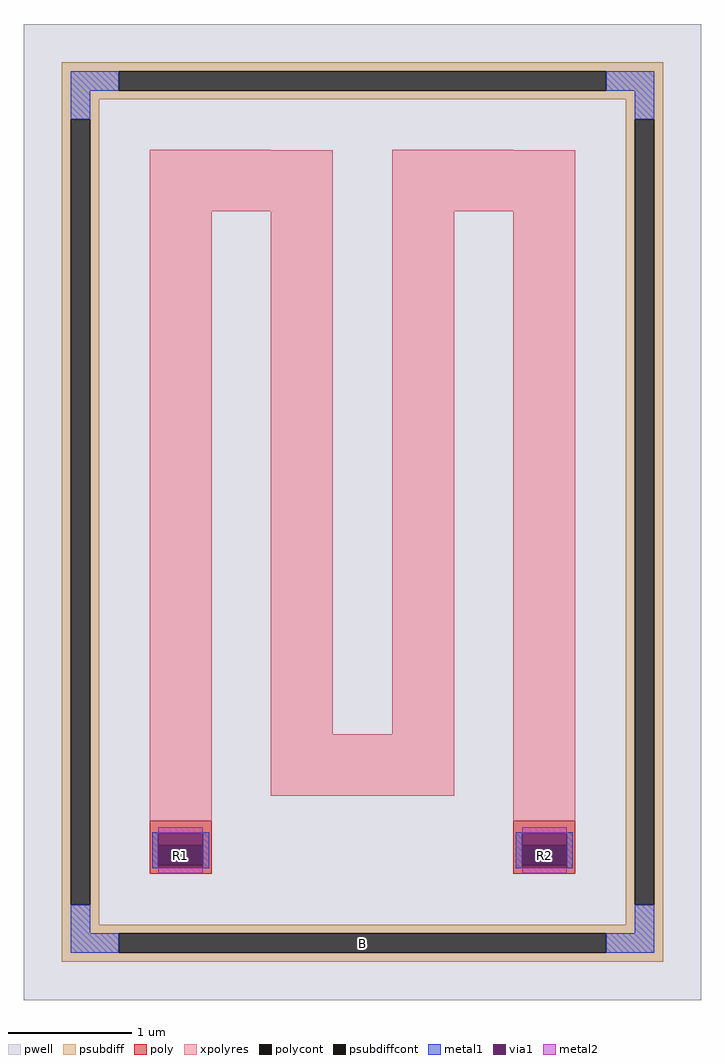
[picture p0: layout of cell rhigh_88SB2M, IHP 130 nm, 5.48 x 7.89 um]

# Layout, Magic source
magic
tech ihp-sg13g2
magscale 1 2
<< pwell >>
rect -548 -789 548 789
<< psubdiff >>
rect -486 713 486 727
rect -486 681 -394 713
rect 394 681 486 713
rect -486 667 486 681
rect -486 635 -426 667
rect -486 -635 -472 635
rect -440 -635 -426 635
rect 426 635 486 667
rect -486 -667 -426 -635
rect 426 -635 440 635
rect 472 -635 486 635
rect 426 -667 486 -635
rect -486 -681 486 -667
rect -486 -713 -394 -681
rect 394 -713 486 -681
rect -486 -727 486 -713
<< psubdiffcont >>
rect -394 681 394 713
rect -472 -635 -440 635
rect 440 -635 472 635
rect -394 -713 394 -681
<< poly >>
rect -344 -539 -244 -499
rect -344 -571 -330 -539
rect -258 -571 -244 -539
rect -344 -585 -244 -571
rect 244 -539 344 -499
rect 244 -571 258 -539
rect 330 -571 344 -539
rect 244 -585 344 -571
<< polycont >>
rect -330 -571 -258 -539
rect 258 -571 330 -539
<< xpolyres >>
rect -344 585 -148 586
rect 48 585 244 586
rect -344 486 -48 585
rect -344 -499 -244 486
rect -148 -359 -48 486
rect 48 486 344 585
rect 48 -359 148 486
rect -148 -459 148 -359
rect 244 -499 344 486
<< metal1 >>
rect -472 681 -394 713
rect 394 681 472 713
rect -472 635 -440 681
rect 440 635 472 681
rect -340 -519 -248 -518
rect -340 -575 -330 -519
rect -258 -575 -248 -519
rect -340 -576 -248 -575
rect 248 -519 340 -518
rect 248 -575 258 -519
rect 330 -575 340 -519
rect 248 -576 340 -575
rect -472 -681 -440 -635
rect 440 -681 472 -635
rect -472 -713 -394 -681
rect 394 -713 472 -681
<< via1 >>
rect -330 -539 -258 -519
rect -330 -571 -258 -539
rect -330 -575 -258 -571
rect 258 -539 330 -519
rect 258 -571 330 -539
rect 258 -575 330 -571
<< metal2 >>
rect -330 -519 -258 -510
rect -330 -584 -258 -575
rect 258 -519 330 -510
rect 258 -584 330 -575
<< labels >>
rlabel psubdiffcont 0 -697 0 -697 0 B
port 1 nsew
rlabel polycont -294 -555 -294 -555 0 R1
port 2 nsew
rlabel polycont 294 -555 294 -555 0 R2
port 3 nsew
<< properties >>
string FIXED_BBOX -456 -697 456 697
string gencell rhigh
string library sg13g2
string parameters w 0.5 l 5.224 m 1 nx 4 wmin 0.50 lmin 0.50 class resistor rho 1360 val 60.917k dummy 0 dw 0.0 term 0.0 sterm 0.0 caplen 0 guard 1 glc 1 grc 1 gtc 1 gbc 1 snake 1 full_metal 1 n_guard 0 hv_guard 0 vias 1 viagb 0 viagt 0 viagl 0 viagr 0 doports 1
<< end >>
